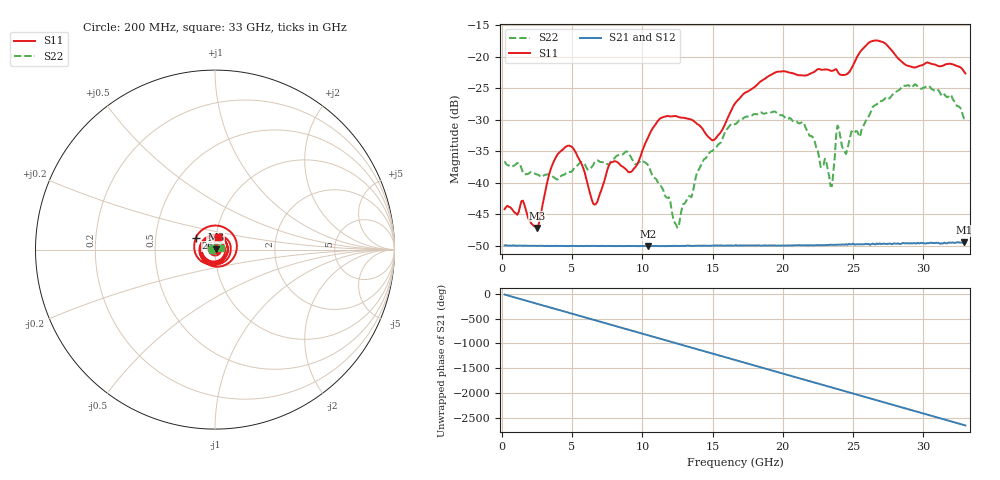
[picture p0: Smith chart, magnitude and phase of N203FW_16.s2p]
# GHZ S RI R 50
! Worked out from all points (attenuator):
!   329 points, 200 MHz to 33 GHz, reference 50 ohm
!   highest |S21| = -49.45 dB at 32.9 GHz (marker M1); lowest = -50.1 dB at 10.4 GHz (marker M2)
!   lowest |S11| = -47.2 dB at 2.5 GHz (marker M3), VSWR 1.01, Z = 50.4 + j0.243 ohm
!   |S11| at or under -10 dB: start of sweep to end of sweep
!   |S22| runs from -47.2 to -24.4 dB; largest |S21 - S12| = 8.8e-05
!   S11 on the Smith chart (normalised r, x): 200 MHz: 1.01, +0.00; 26 GHz: 0.80, +0.11; 33 GHz: 1.03, +0.15
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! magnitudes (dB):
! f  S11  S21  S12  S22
! 200 MHz  -44.2  -50.0  -49.9  -36.6
! 1.5 GHz  -42.9  -50.0  -50.0  -38.4
! 2.5 GHz  -47.2  -50.1  -50.0  -38.7
! 4 GHz  -35.4  -50.0  -50.0  -39.5
! 5.7 GHz  -37.1  -50.1  -50.0  -36.8
! 6.6 GHz  -43.5  -50.1  -50.0  -36.8
! 7.7 GHz  -36.9  -50.0  -50.0  -36.8
! 9.2 GHz  -38.3  -50.1  -50.0  -36.0
! 10.4 GHz  -32.9  -50.1  -50.1  -37.2
! 11.2 GHz  -30.0  -50.1  -50.0  -40.1
! 12.5 GHz  -29.5  -50.1  -50.1  -47.2
! 15.1 GHz  -33.2  -50.0  -50.0  -34.7
! 16.6 GHz  -27.4  -49.9  -50.0  -30.7
! 22.1 GHz  -22.6  -49.9  -49.9  -32.7
! 23.5 GHz  -22.3  -49.9  -49.8  -40.6
! 23.9 GHz  -22.4  -49.9  -49.9  -30.9
! 24.5 GHz  -22.9  -49.8  -49.8  -35.5
! 26 GHz  -18.0  -49.8  -49.7  -30.0
! 27.6 GHz  -18.6  -49.7  -49.7  -26.6
! 30.4 GHz  -21.0  -49.6  -49.7  -24.6
! 32.9 GHz  -22.4  -49.4  -49.4  -29.8
! 33 GHz  -22.7  -49.5  -49.5  -29.8
